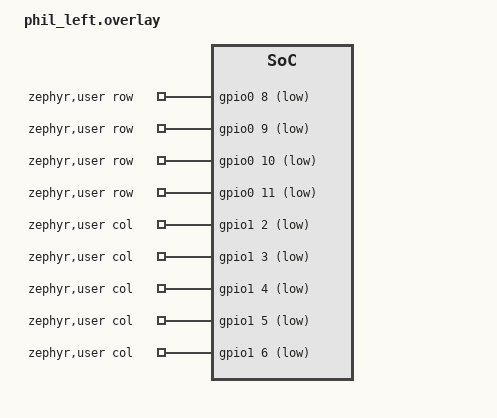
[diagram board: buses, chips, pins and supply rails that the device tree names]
/ {
    zephyr,user {
        row-gpios = <&gpio0 8 GPIO_ACTIVE_LOW>,
                    <&gpio0 9 GPIO_ACTIVE_LOW>,
                    <&gpio0 10 GPIO_ACTIVE_LOW>,
                    <&gpio0 11 GPIO_ACTIVE_LOW>;
        col-gpios = <&gpio1 2 GPIO_ACTIVE_LOW>,
                    <&gpio1 3 GPIO_ACTIVE_LOW>,
                    <&gpio1 4 GPIO_ACTIVE_LOW>,
                    <&gpio1 5 GPIO_ACTIVE_LOW>,
                    <&gpio1 6 GPIO_ACTIVE_LOW>;
        diode-direction = COL2ROW;
    };
};
